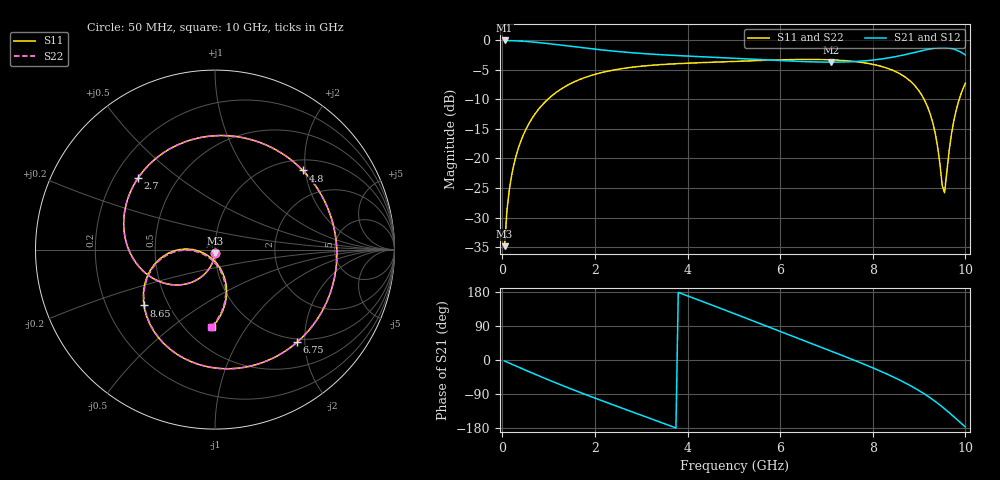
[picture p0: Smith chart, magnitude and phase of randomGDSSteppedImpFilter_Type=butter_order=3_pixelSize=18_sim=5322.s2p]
! freq	dB(S11)	phase(S11)	dB(S12)	phase(S12)
!  dB(S21)	phase(S21)	dB(S22)	phase(S22)
!S-par simulation data
#  GHz  S  DB  R 50
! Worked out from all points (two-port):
!   200 points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, 50 MHz to 10 GHz, reference 50 ohm
!   highest |S21| = -0.01 dB at 50 MHz (marker M1); lowest = -3.7 dB at 7.1 GHz (marker M2)
!   |S21| within 3 dB of the highest: start of sweep to 4.986 GHz; 8.302 GHz to end of sweep
!   lowest |S11| = -34.9 dB at 50 MHz (marker M3), VSWR 1.04, Z = 49.9 - j1.81 ohm
!   |S11| at or under -10 dB: start of sweep to 979.9 MHz; 9.109 GHz to 9.867 GHz (757.5 MHz wide, 7.98 % of centre)
!   |S22| runs from -34.8 to -3.2 dB; largest |S21 - S12| = 0
!   S11 on the Smith chart (normalised r, x): 50 MHz: 1.00, -0.04; 2.7 GHz: 0.30, +0.36; 4.8 GHz: 1.24, +1.94; 6.75 GHz: 0.94, -1.84; 8.65 GHz: 0.37, -0.30; 10 GHz: 0.66, -0.71
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0.05  -34.86 -90.7  -0.01 -2.7  -0.01 -2.7  -34.85 -90.6
0.1  -28.87 -94.4  -0.02 -5.4  -0.02 -5.4  -28.87 -94.4
0.2  -22.92 -100.5  -0.05 -10.8  -0.05 -10.8  -22.93 -100.5
0.5  -15.23 -117.1  -0.17 -26.8  -0.17 -26.8  -15.23 -117.1
1.1  -9.19 -148.2  -0.64 -57.6  -0.64 -57.6  -9.19 -148.2
1.75  -6.39 -179.6  -1.26 -88.9  -1.26 -88.9  -6.39 -179.6
2.7  -4.65 137.1  -2.03 -132.1  -2.03 -132.1  -4.65 137.2
3.4  -4.11 105.8  -2.41 -163.5  -2.41 -163.5  -4.11 105.9
4.1  -3.83 74.2  -2.69 164.7  -2.69 164.7  -3.83 74.3
4.8  -3.62 42.0  -2.94 132.2  -2.94 132.2  -3.62 42.1
5.05  -3.55 30.4  -3.04 120.4  -3.04 120.4  -3.55 30.6
5.85  -3.33 -6.8  -3.35 82.6  -3.35 82.6  -3.33 -6.6
6.7  -3.23 -46.1  -3.64 42.4  -3.64 42.4  -3.23 -45.8
6.75  -3.23 -48.4  -3.65 40.0  -3.65 40.0  -3.23 -48.1
7.1  -3.30 -64.5  -3.68 23.4  -3.68 23.4  -3.30 -64.2
7.75  -3.72 -95.0  -3.51 -8.1  -3.51 -8.1  -3.72 -94.6
8.35  -4.82 -125.2  -2.95 -39.5  -2.95 -39.5  -4.81 -124.7
8.65  -5.96 -141.8  -2.50 -57.2  -2.50 -57.2  -5.95 -141.2
9.2  -11.58 -175.3  -1.51 -96.5  -1.51 -96.5  -11.55 -174.0
9.55  -25.82 -113.7  -1.23 -128.6  -1.23 -128.6  -24.88 -115.1
9.75  -13.63 -72.4  -1.49 -149.6  -1.49 -149.6  -13.57 -73.9
10  -7.26 -92.3  -2.47 -176.9  -2.47 -176.9  -7.25 -92.8
